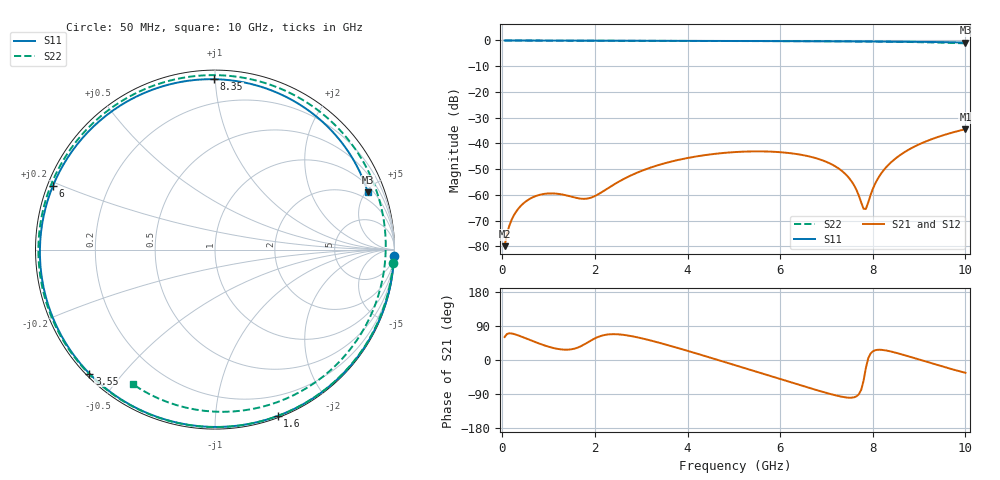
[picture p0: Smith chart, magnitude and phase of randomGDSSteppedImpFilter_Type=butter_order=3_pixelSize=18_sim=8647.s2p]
! freq	dB(S11)	phase(S11)	dB(S12)	phase(S12)
!  dB(S21)	phase(S21)	dB(S22)	phase(S22)
!S-par simulation data
#  GHz  S  DB  R 50
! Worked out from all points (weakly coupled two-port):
!   200 points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, 50 MHz to 10 GHz, reference 50 ohm
!   highest |S21| = -34.47 dB at 10 GHz (marker M1); lowest = -79.9 dB at 50 MHz (marker M2)
!   lowest |S11| = -0.8 dB at 10 GHz (marker M3), VSWR 21.06, Z = 70.1 + j258 ohm
!   |S11| at or under -10 dB: nowhere
!   |S22| runs from -1.1 to 0.0 dB; largest |S21 - S12| = 0
!   S11 on the Smith chart (normalised r, x): 50 MHz: 2, -52; 1.6 GHz: 0.01, -1.45; 3.55 GHz: 0.01, -0.41; 6 GHz: 0.02, +0.19; 8.35 GHz: 0.05, +0.99; 10 GHz: 1.40, +5.16
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0.05  -0.01 -2.2  -79.93 60.6  -79.93 60.6  -0.04 -4.3
0.15  -0.02 -6.8  -72.08 70.4  -72.08 70.4  -0.05 -12.4
0.25  -0.03 -11.4  -67.95 68.7  -67.95 68.7  -0.05 -20.6
0.55  -0.04 -24.9  -62.02 55.2  -62.02 55.2  -0.06 -44.2
1.05  -0.06 -46.8  -59.43 33.3  -59.43 33.3  -0.09 -79.6
1.6  -0.08 -69.3  -61.17 31.5  -61.17 31.5  -0.11 -111.7
1.75  -0.09 -75.2  -61.54 39.7  -61.54 39.7  -0.11 -119.4
2.55  -0.12 -104.0  -54.53 67.3  -54.53 67.3  -0.13 -154.5
3.4  -0.14 -131.0  -48.27 45.1  -48.27 45.1  -0.14 174.8
3.55  -0.15 -135.4  -47.51 40.1  -47.51 40.1  -0.15 169.7
4.25  -0.17 -155.2  -44.89 15.1  -44.89 15.1  -0.17 146.8
5.05  -0.21 -176.5  -43.34 -14.6  -43.34 -14.6  -0.20 120.5
6  -0.26 158.7  -43.42 -50.3  -43.42 -50.3  -0.25 87.2
6.7  -0.31 140.0  -45.39 -76.3  -45.39 -76.3  -0.29 59.8
7.4  -0.36 120.2  -51.76 -98.4  -51.76 -98.4  -0.36 29.2
7.85  -0.40 106.7  -65.51 -21.8  -65.51 -21.8  -0.41 7.5
8.05  -0.42 100.3  -55.71 25.7  -55.71 25.7  -0.44 -2.6
8.35  -0.45 90.4  -48.13 23.6  -48.13 23.6  -0.50 -18.5
8.8  -0.51 74.3  -42.19 8.6  -42.19 8.6  -0.61 -43.7
9.25  -0.59 56.5  -38.51 -8.0  -38.51 -8.0  -0.76 -71.0
9.65  -0.69 38.5  -36.14 -22.2  -36.14 -22.2  -0.94 -97.0
10  -0.83 20.5  -34.47 -33.8  -34.47 -33.8  -1.12 -121.5
